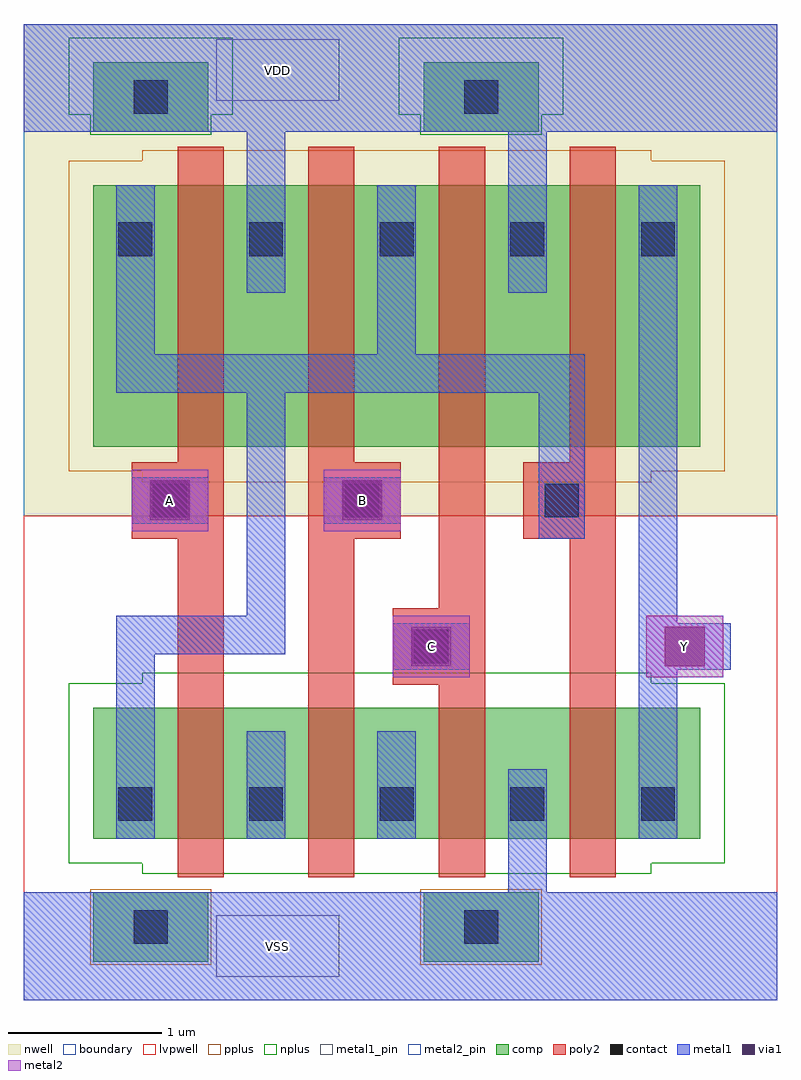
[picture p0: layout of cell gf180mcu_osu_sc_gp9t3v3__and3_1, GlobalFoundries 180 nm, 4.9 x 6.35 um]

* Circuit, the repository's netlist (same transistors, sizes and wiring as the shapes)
** sch_path: /foss/designs/work/9t_and3_1/gf180mcu_osu_sc_gp9t3v3__and3_1.sch
.subckt gf180mcu_osu_sc_gp9t3v3__and3_1 A B Y C VDD VSS
*.PININFO A:I B:I Y:O C:I VDD:B VSS:B
X1 net1 A VDD VDD pfet_03v3 w=1.7u l=0.3u m=1
X0 net1 B VDD VDD pfet_03v3 w=1.7u l=0.3u m=1
X2 net1 A net2 VSS nfet_03v3 w=0.85u l=0.3u m=1
X3 net2 B net3 VSS nfet_03v3 w=0.85u l=0.3u m=1
X4 Y net1 VDD VDD pfet_03v3 w=1.7u l=0.3u m=1
X5 Y net1 VSS VSS nfet_03v3 w=0.85u l=0.3u m=1
X6 net1 C VDD VDD pfet_03v3 w=1.7u l=0.3u m=1
X7 net3 C VSS VSS nfet_03v3 w=0.85u l=0.3u m=1
.ends

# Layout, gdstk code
import gdstk
lib = gdstk.Library(unit=1e-6, precision=1e-09)
def R(c, l, rs):  # rectangles x0, y0, x1, y1
    for r in rs: c.add(gdstk.rectangle(r[:2], r[2:], *l))
def A(c, l, x, y, w, h, nx, ny, dx, dy):  # array of equal rectangles
    R(c, l, [(x+i*dx, y+j*dy, x+i*dx+w, y+j*dy+h) for i in range(nx) for j in range(ny)])
boundary = (0, 0)
nwell = (21, 0)
comp = (22, 0)
poly2 = (30, 0)
pplus = (31, 0)
nplus = (32, 0)
contact = (33, 0)
metal1 = (34, 0)
metal1_pin = (34, 10)
via1 = (35, 0)
metal2 = (36, 0)
metal2_pin = (36, 10)
lvpwell = (204, 0)

gf180mcu_osu_sc_gp9t3v3_ = lib.new_cell('gf180mcu_osu_sc_gp9t3v3__and3_1')
R(gf180mcu_osu_sc_gp9t3v3_, boundary, [(-0.9,0,4,6.35)])
R(gf180mcu_osu_sc_gp9t3v3_, nwell, [(-0.9,3.15,4,6.35)])
R(gf180mcu_osu_sc_gp9t3v3_, comp, [(-0.45,0.25,0.3,0.7), (1.7,0.25,2.45,0.7), (-0.45,1.05,3.5,1.9), (-0.45,3.6,3.5,5.3), (-0.45,5.65,0.3,6.1), (1.7,5.65,2.45,6.1)])
R(gf180mcu_osu_sc_gp9t3v3_, poly2, [(0.1,0.8,0.4,3), (0.95,0.8,1.25,3), (1.8,0.8,2.1,2.05), (2.65,0.8,2.95,3), (1.5,2.05,2.1,2.55), (1.8,2.55,2.1,5.55), (-0.2,3,0.4,3.5), (0.95,3,1.55,3.5), (2.35,3,2.95,3.5), (0.1,3.5,0.4,5.55), (0.95,3.5,1.25,5.55), (2.65,3.5,2.95,5.55)])
R(gf180mcu_osu_sc_gp9t3v3_, pplus, [(-0.47,0.23,0.32,0.72), (1.68,0.23,2.47,0.72), (-0.13,3.37,3.18,3.44), (-0.61,3.44,3.66,5.46), (-0.13,5.46,3.18,5.53)])
R(gf180mcu_osu_sc_gp9t3v3_, nplus, [(-0.13,0.82,3.18,0.89), (-0.61,0.89,3.66,2.06), (-0.13,2.06,3.18,2.13), (-0.47,5.63,0.32,5.76), (1.68,5.63,2.47,5.76), (-0.61,5.76,0.46,6.26), (1.54,5.76,2.61,6.26)])
A(gf180mcu_osu_sc_gp9t3v3_, contact, -0.285, 1.165, 0.22, 0.22, 5, 2, 0.85, 3.675)
R(gf180mcu_osu_sc_gp9t3v3_, contact, [(-0.185,0.365,0.035,0.585), (1.965,0.365,2.185,0.585), (1.64,2.19,1.86,2.41), (-0.06,3.14,0.16,3.36), (1.19,3.14,1.41,3.36), (2.49,3.14,2.71,3.36), (-0.185,5.765,0.035,5.985), (1.965,5.765,2.185,5.985)])
R(gf180mcu_osu_sc_gp9t3v3_, metal1, [(-0.9,0,4,0.7), (2.25,0.7,2.5,1.5), (-0.3,1.05,-0.05,2.25), (0.55,1.05,0.8,1.75), (1.4,1.05,1.65,1.75), (3.1,1.05,3.35,2.15), (1.5,2.15,2,2.45), (3.1,2.15,3.7,2.45), (-0.3,2.25,0.8,2.5), (3.1,2.45,3.35,5.3), (0.55,2.5,0.8,3.95), (2.45,3,2.75,3.95), (-0.2,3.1,0.3,3.4), (1.05,3.1,1.55,3.4), (-0.3,3.95,2.75,4.2), (-0.3,4.2,-0.05,5.3), (1.4,4.2,1.65,5.3), (0.55,4.6,0.8,5.65), (2.25,4.6,2.5,5.65), (-0.9,5.65,4,6.35)])
R(gf180mcu_osu_sc_gp9t3v3_, metal1_pin, [(0.35,0.15,1.15,0.55), (0.35,5.85,1.15,6.25)])
R(gf180mcu_osu_sc_gp9t3v3_, via1, [(1.62,2.17,1.88,2.43), (3.27,2.17,3.53,2.43), (-0.08,3.12,0.18,3.38), (1.17,3.12,1.43,3.38)])
R(gf180mcu_osu_sc_gp9t3v3_, metal2, [(1.5,2.1,2,2.5), (3.15,2.1,3.65,2.5), (-0.2,3.05,0.3,3.45), (1.05,3.05,1.55,3.45)])
R(gf180mcu_osu_sc_gp9t3v3_, metal2_pin, [(1.5,2.1,2,2.5), (3.15,2.1,3.65,2.5), (-0.2,3.05,0.3,3.45), (1.05,3.05,1.55,3.45)])
R(gf180mcu_osu_sc_gp9t3v3_, lvpwell, [(-0.9,0,4,3.15)])
gf180mcu_osu_sc_gp9t3v3_.add(gdstk.Label('A', (0.05,3.25), layer=36, texttype=10))
gf180mcu_osu_sc_gp9t3v3_.add(gdstk.Label('B', (1.3,3.25), layer=36, texttype=10))
gf180mcu_osu_sc_gp9t3v3_.add(gdstk.Label('Y', (3.4,2.3), layer=36, texttype=10))
gf180mcu_osu_sc_gp9t3v3_.add(gdstk.Label('C', (1.75,2.3), layer=36, texttype=10))
gf180mcu_osu_sc_gp9t3v3_.add(gdstk.Label('VDD', (0.75,6.05), layer=34, texttype=10))
gf180mcu_osu_sc_gp9t3v3_.add(gdstk.Label('VSS', (0.75,0.35), layer=34, texttype=10))

lib.write_gds('gf180mcu_osu_sc_gp9t3v3__and3_1.gds')
